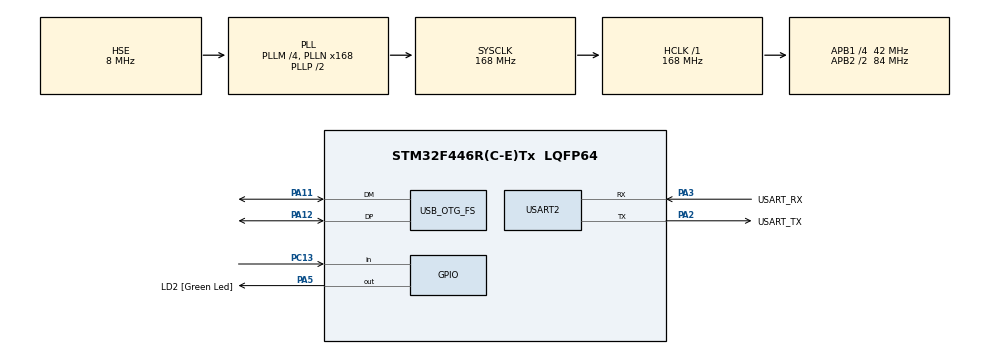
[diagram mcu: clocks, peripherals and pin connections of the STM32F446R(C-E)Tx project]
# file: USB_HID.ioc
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Mcu.Family=STM32F4
Mcu.Name=STM32F446R(C-E)Tx
Mcu.Package=LQFP64
NVIC.OTG_FS_IRQn=true\:0\:0\:false\:false\:true\:false\:true
NVIC.PriorityGroup=NVIC_PRIORITYGROUP_0
PA11.Mode=Device_Only
PA11.Signal=USB_OTG_FS_DM
PA12.Mode=Device_Only
PA12.Signal=USB_OTG_FS_DP
PA13.GPIO_Label=TMS
PA13.Mode=Serial_Wire
PA13.Signal=SYS_JTMS-SWDIO
PA14.GPIO_Label=TCK
PA14.Mode=Serial_Wire
PA14.Signal=SYS_JTCK-SWCLK
PA2.GPIO_Label=USART_TX
PA2.Mode=Asynchronous
PA2.Signal=USART2_TX
PA3.GPIO_Label=USART_RX
PA3.Mode=Asynchronous
PA3.Signal=USART2_RX
PA5.GPIO_Label=LD2 [Green Led]
PA5.Signal=GPIO_Output
PB3.GPIO_Label=SWO
PB3.Signal=SYS_JTDO-SWO
PC13.Signal=GPIO_Input
PC14-OSC32_IN.Mode=LSE-External-Oscillator
PC14-OSC32_IN.Signal=RCC_OSC32_IN
PC15-OSC32_OUT.Mode=LSE-External-Oscillator
PC15-OSC32_OUT.Signal=RCC_OSC32_OUT
PH0-OSC_IN.Mode=HSE-External-Clock-Source
PH0-OSC_IN.Signal=RCC_OSC_IN
PH1-OSC_OUT.Mode=HSE-External-Clock-Source
PH1-OSC_OUT.Signal=RCC_OSC_OUT
ProjectManager.HeapSize=0x200
ProjectManager.StackSize=0x400
ProjectManager.TargetToolchain=SW4STM32
RCC.48MHZClocksFreq_Value=84000000
RCC.AHBFreq_Value=168000000
RCC.APB1CLKDivider=RCC_HCLK_DIV4
RCC.APB1Freq_Value=42000000
RCC.APB1TimFreq_Value=84000000
RCC.APB2CLKDivider=RCC_HCLK_DIV2
RCC.APB2Freq_Value=84000000
RCC.APB2TimFreq_Value=168000000
RCC.CortexFreq_Value=168000000
RCC.FLatency-AdvancedSettings=FLASH_LATENCY_5
RCC.HCLKFreq_Value=168000000
RCC.HSE_VALUE=8000000
RCC.HSI_VALUE=16000000
RCC.PLLM=4
RCC.PLLN=168
RCC.PLLQ=7
RCC.SYSCLKFreq_VALUE=168000000
RCC.SYSCLKSource=RCC_SYSCLKSOURCE_PLLCLK
RCC.USBFreq_Value=48000000
RCC.VCOOutputFreq_Value=336000000
USART2.VirtualMode=VM_ASYNC
USB_DEVICE.CLASS_NAME_FS=HID
USB_DEVICE.VirtualMode-HID_FS=Hid
USB_DEVICE.VirtualModeFS=Hid_FS
USB_OTG_FS.VirtualMode=Device_Only
VP_USB_DEVICE_VS_USB_DEVICE_HID_FS.Mode=HID_FS
board=NUCLEO-F446RE

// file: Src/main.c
/* USER CODE BEGIN Header */
/**
  ******************************************************************************
  * @file           : main.c
  * @brief          : Main program body
  ******************************************************************************
  * @attention
  *
  * <h2><center>&copy; Copyright (c) 2021 STMicroelectronics.
  * All rights reserved.</center></h2>
  *
  * This software component is licensed by ST under Ultimate Liberty license
  * SLA0044, the "License"; You may not use this file except in compliance with
  * the License. You may obtain a copy of the License at:
  *                             www.st.com/SLA0044
  *
  ******************************************************************************
  */
/* USER CODE END Header */

#include "main.h"
#include "usb_device.h"

/* USER CODE BEGIN Includes */
#include "usbd_hid.h"
#include <math.h>

/* USER CODE END Includes */

/* USER CODE BEGIN PD */
#define HID_BUFFER_SIZE 7
/* USER CODE END PD */

/* USER CODE BEGIN PV */
UART_HandleTypeDef huart2;
USBD_HandleTypeDef hUsbDeviceFS;
uint8_t HIDBuffer[HID_BUFFER_SIZE];
/* USER CODE END PV */

void SystemClock_Config(void);
static void MX_GPIO_Init(void);
static void MX_USART2_UART_Init(void);

int main(void)
{

  /* MCU Configuration--------------------------------------------------------*/

  /* Reset of all peripherals, Initializes the Flash interface and the Systick. */
  HAL_Init();

  /* Configure the system clock */
  SystemClock_Config();

  /* Initialize all configured peripherals */
  MX_GPIO_Init();
  MX_USART2_UART_Init();
  MX_USB_DEVICE_Init();
  /* USER CODE BEGIN 2 */

  //Initialize Buffer
  HIDBuffer[0]=1;  //1-> Left Click, 2-> Right Click 3-> Middle
  HIDBuffer[1]=0;  //X Position
  HIDBuffer[2]=0;  //X Position (2) (Most Significant Bits)
  HIDBuffer[3]=0;  //Y Position
  HIDBuffer[4]=0;  //Y Position (2) (Most Significant Bits)
  HIDBuffer[5]=0;  //Scroll Wheel
  HIDBuffer[6]=0;  //Scroll Wheel (2)

  //Todo Create interfaces for analyzing a 'packet' structure and perform action.

  /* USER CODE END 2 */

  /* Infinite loop */
  while (1)
  {

	/* USER CODE BEGIN 3 */

	  if(HAL_GPIO_ReadPin(GPIOC,GPIO_PIN_13) != GPIO_PIN_SET){
		  	  double center_x = 4095/2.0;
		  	  double center_y = 4095/2.0;
		  	  double radius = 250;
		  	  double resolution_x = 2560;
		  	  double resolution_y = 1600;
		  	  double x_scaling = 4095/resolution_x;
		  	  double y_scaling = 4095/resolution_y;
	  		  uint16_t x_component;
	  		  uint16_t y_component;

	  		  while(1){
	  			for(double angle = 0; angle <= M_PI*2; angle += 0.01){
				  x_component = (uint16_t)(center_x + radius * x_scaling * cos(angle));
				  y_component = (uint16_t)(center_y + radius * y_scaling * sin(angle));
				  HIDBuffer[1] = (x_component & 0xFF);
				  HIDBuffer[2] = (x_component >> 8) & 0x0F;
				  HIDBuffer[3] = (y_component & 0xFF);
				  HIDBuffer[4] = (y_component >> 8) & 0x0F;
				  USBD_HID_SendReport(&hUsbDeviceFS, HIDBuffer ,HID_BUFFER_SIZE);
				  HAL_Delay(4);
			  }

	  		  }
	  	  }

  }
  /* USER CODE END 3 */
}

void SystemClock_Config(void)
{
  RCC_OscInitTypeDef RCC_OscInitStruct = {0};
  RCC_ClkInitTypeDef RCC_ClkInitStruct = {0};
  RCC_PeriphCLKInitTypeDef PeriphClkInitStruct = {0};

  /** Configure the main internal regulator output voltage
  */
  __HAL_RCC_PWR_CLK_ENABLE();
  __HAL_PWR_VOLTAGESCALING_CONFIG(PWR_REGULATOR_VOLTAGE_SCALE1);
  /** Initializes the CPU, AHB and APB busses clocks
  */
  RCC_OscInitStruct.OscillatorType = RCC_OSCILLATORTYPE_HSE;
  RCC_OscInitStruct.HSEState = RCC_HSE_BYPASS;
  RCC_OscInitStruct.PLL.PLLState = RCC_PLL_ON;
  RCC_OscInitStruct.PLL.PLLSource = RCC_PLLSOURCE_HSE;
  RCC_OscInitStruct.PLL.PLLM = 4;
  RCC_OscInitStruct.PLL.PLLN = 168;
  RCC_OscInitStruct.PLL.PLLP = RCC_PLLP_DIV2;
  RCC_OscInitStruct.PLL.PLLQ = 7;
  RCC_OscInitStruct.PLL.PLLR = 2;
  if (HAL_RCC_OscConfig(&RCC_OscInitStruct) != HAL_OK)
  {
    Error_Handler();
  }
  /** Initializes the CPU, AHB and APB busses clocks
  */
  RCC_ClkInitStruct.ClockType = RCC_CLOCKTYPE_HCLK|RCC_CLOCKTYPE_SYSCLK
                              |RCC_CLOCKTYPE_PCLK1|RCC_CLOCKTYPE_PCLK2;
  RCC_ClkInitStruct.SYSCLKSource = RCC_SYSCLKSOURCE_PLLCLK;
  RCC_ClkInitStruct.AHBCLKDivider = RCC_SYSCLK_DIV1;
  RCC_ClkInitStruct.APB1CLKDivider = RCC_HCLK_DIV4;
  RCC_ClkInitStruct.APB2CLKDivider = RCC_HCLK_DIV2;

  if (HAL_RCC_ClockConfig(&RCC_ClkInitStruct, FLASH_LATENCY_5) != HAL_OK)
  {
    Error_Handler();
  }
  PeriphClkInitStruct.PeriphClockSelection = RCC_PERIPHCLK_CLK48;
  PeriphClkInitStruct.Clk48ClockSelection = RCC_CLK48CLKSOURCE_PLLQ;
  if (HAL_RCCEx_PeriphCLKConfig(&PeriphClkInitStruct) != HAL_OK)
  {
    Error_Handler();
  }
}

static void MX_USART2_UART_Init(void)
{

  huart2.Instance = USART2;
  huart2.Init.BaudRate = 115200;
  huart2.Init.WordLength = UART_WORDLENGTH_8B;
  huart2.Init.StopBits = UART_STOPBITS_1;
  huart2.Init.Parity = UART_PARITY_NONE;
  huart2.Init.Mode = UART_MODE_TX_RX;
  huart2.Init.HwFlowCtl = UART_HWCONTROL_NONE;
  huart2.Init.OverSampling = UART_OVERSAMPLING_16;
  if (HAL_UART_Init(&huart2) != HAL_OK)
  {
    Error_Handler();
  }

}

static void MX_GPIO_Init(void)
{
  GPIO_InitTypeDef GPIO_InitStruct = {0};

  /* GPIO Ports Clock Enable */
  __HAL_RCC_GPIOC_CLK_ENABLE();
  __HAL_RCC_GPIOH_CLK_ENABLE();
  __HAL_RCC_GPIOA_CLK_ENABLE();
  __HAL_RCC_GPIOB_CLK_ENABLE();

  /*Configure GPIO pin Output Level */
  HAL_GPIO_WritePin(LD2_GPIO_Port, LD2_Pin, GPIO_PIN_RESET);

  /*Configure GPIO pin : PC13 */
  GPIO_InitStruct.Pin = GPIO_PIN_13;
  GPIO_InitStruct.Mode = GPIO_MODE_INPUT;
  GPIO_InitStruct.Pull = GPIO_NOPULL;
  HAL_GPIO_Init(GPIOC, &GPIO_InitStruct);

  /*Configure GPIO pin : LD2_Pin */
  GPIO_InitStruct.Pin = LD2_Pin;
  GPIO_InitStruct.Mode = GPIO_MODE_OUTPUT_PP;
  GPIO_InitStruct.Pull = GPIO_NOPULL;
  GPIO_InitStruct.Speed = GPIO_SPEED_FREQ_LOW;
  HAL_GPIO_Init(LD2_GPIO_Port, &GPIO_InitStruct);

}

void Error_Handler(void)
{
}

/************************ (C) COPYRIGHT STMicroelectronics *****END OF FILE****/
